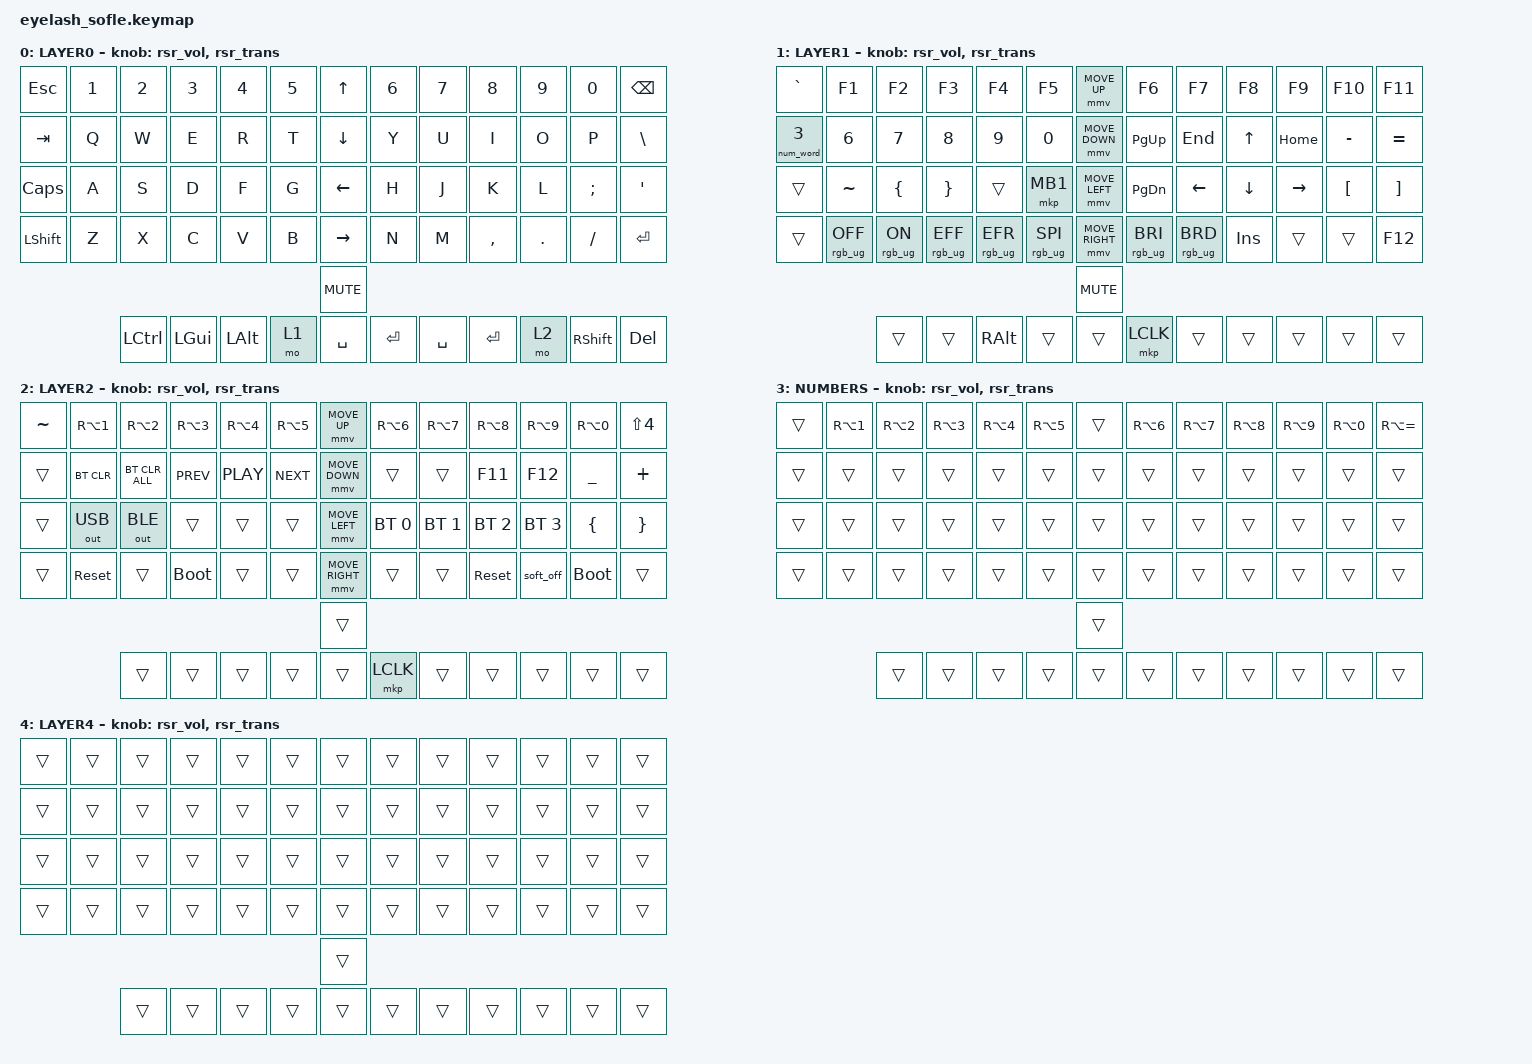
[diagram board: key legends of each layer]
#define ZMK_POINTING_DEFAULT_MOVE_VAL 1200
#define ZMK_POINTING_DEFAULT_SCRL_VAL 25

#include <input/processors.dtsi>
#include <zephyr/dt-bindings/input/input-event-codes.h>
#include <behaviors.dtsi>
#include <behaviors/runtime-sensor-rotate.dtsi>
#include <dt-bindings/zmk/bt.h>
#include <dt-bindings/zmk/keys.h>
#include <dt-bindings/zmk/outputs.h>
#include <dt-bindings/zmk/pointing.h>
#include <dt-bindings/zmk/rgb.h>
#include <behaviors/num_word.dtsi>

&mmv_input_listener {
    input-processors = <&zip_xy_scaler 2 1>;
};

&msc_input_listener {
    input-processors = <&zip_scroll_scaler 2 1>;
};

&msc {
    acceleration-exponent = <1>;
    time-to-max-speed-ms = <100>;
    delay-ms = <0>;
};

&mmv {
    time-to-max-speed-ms = <500>;
    acceleration-exponent = <1>;
    trigger-period-ms = <16>;
};

&soft_off {
    hold-time-ms = <2000>;
};

/ {
    behaviors {
        rsr_vol: rsr_vol {
            compatible = "zmk,behavior-runtime-sensor-rotate";
            #sensor-binding-cells = <0>;
            tap-ms = <5>;
            cw-binding = <&kp C_VOL_UP>;
            ccw-binding = <&kp C_VOL_DN>;
        };

        rsr_trans: rsr_trans {
            compatible = "zmk,behavior-runtime-sensor-rotate";
            #sensor-binding-cells = <0>;
            tap-ms = <0>;
        };
    };

    macros {
        SHIFT_MCLK: SHIFT_MCLK {
            compatible = "zmk,behavior-macro";
            #binding-cells = <0>;
            label = "SHIFT_MCLK";
            bindings = <&macro_press>, <&kp LEFT_SHIFT>, <&macro_press>, <&mkp MB3>, <&macro_pause_for_release>, <&macro_release>, <&kp LEFT_SHIFT>, <&mkp MB3>;
        };
    };

    combos {
        compatible = "zmk,combos";

        softoff {
            key-positions = <14 28 40>;
            bindings = <&soft_off>;
        };

        usb {
            key-positions = <21 28 44>;
            bindings = <&out OUT_USB>;
        };

        ble {
            key-positions = <16 36 44>;
            bindings = <&out OUT_BLE>;
        };
    };

    keymap {
        compatible = "zmk,keymap";

        layer0 {
            display-name = "LAYER0";
            // | ESC   | 1 | 2    | 3   | 4   | 5      |      | UP     |       | 6     | 7      | 8     | 9   | 0    | BSPC  |
            // | TAB   | Q | W    | E   | R   | T      |      | DOWN   |       | Y     | U      | I     | O   | P    | BSLH  |
            // | CAPS  | A | S    | D   | F   | G      | LEFT |                | H     | J      | K     | L   | ;    | APOS  |
            // | SHIFT | Z | X    | C   | V   | B      |               | RIGHT | N     | M      | ,     | .   | FSLH | ENTER |
            //                                                | C_MUTE |
            //             | CTRL | GUI | ALT | LAYER1 | SPC  | ENTER  | SPC   | ENTER | LAYER2 | SHIFT | DEL |
            bindings = <
                &kp ESC    &kp N1  &kp N2     &kp N3        &kp N4        &kp N5                  &kp UP_ARROW                     &kp N6     &kp N7  &kp N8           &kp N9      &kp N0    &kp BACKSPACE
                &kp TAB    &kp Q   &kp W      &kp E         &kp R         &kp T                   &kp DOWN_ARROW                   &kp Y      &kp U   &kp I            &kp O       &kp P     &kp BSLH
                &kp CAPS   &kp A   &kp S      &kp D         &kp F         &kp G   &kp LEFT_ARROW                                   &kp H      &kp J   &kp K            &kp L       &kp SEMI  &kp APOS
                &kp LSHFT  &kp Z   &kp X      &kp C         &kp V         &kp B                                   &kp RIGHT_ARROW  &kp N      &kp M   &kp COMMA        &kp DOT     &kp FSLH  &kp ENTER
                                                                                                  &kp C_MUTE
                                   &kp LCTRL  &kp LEFT_GUI  &kp LEFT_ALT  &mo 1   &kp SPACE       &kp ENTER       &kp SPACE        &kp ENTER  &mo 2   &kp RIGHT_SHIFT  &kp DELETE
            >;

            sensor-bindings = <&rsr_vol &rsr_trans>;
        };

        layer_1 {
            display-name = "LAYER1";
            // | `          | F1             | F2            | F3             | F4             | F5             |               | MMV MOVE_UP   |                | F6             | F7             | F8     | F9    | F10 | F11 |
            // | NUM_WORD 3 | 6              | 7             | 8              | 9              | 0              |               | MMV MOVE_DOWN |                | PG_UP          | END            | UP     | HOME  | -   | =   |
            // |            | ~              | {             | }              |                | MKP MB1        | MMV MOVE_LEFT |                                | PG_DN          | LEFT           | DOWN   | RIGHT | [   | ]   |
            // |            | RGB_UG RGB_OFF | RGB_UG RGB_ON | RGB_UG RGB_EFF | RGB_UG RGB_EFR | RGB_UG RGB_SPI |                               | MMV MOVE_RIGHT | RGB_UG RGB_BRI | RGB_UG RGB_BRD | INSERT |       |     | F12 |
            //                                                                                                                  | C_MUTE        |
            //                               |               |                | ALTGR          |                |               | MKP LCLK      |                |                |                |        |       |
            bindings = <
                &kp GRAVE    &kp F1           &kp F2          &kp F3           &kp F4           &kp F5                           &mmv MOVE_UP                     &kp F6           &kp F7           &kp F8      &kp F9     &kp F10           &kp F11
                &num_word 3  &kp N6           &kp N7          &kp N8           &kp N9           &kp N0                           &mmv MOVE_DOWN                   &kp PG_UP        &kp END          &kp UP      &kp HOME   &kp MINUS         &kp EQUAL
                &trans       &kp TILDE        &kp LBRC        &kp RBRC         &trans           &mkp MB1         &mmv MOVE_LEFT                                   &kp PG_DN        &kp LEFT         &kp DOWN    &kp RIGHT  &kp LEFT_BRACKET  &kp RIGHT_BRACKET
                &trans       &rgb_ug RGB_OFF  &rgb_ug RGB_ON  &rgb_ug RGB_EFF  &rgb_ug RGB_EFR  &rgb_ug RGB_SPI                                  &mmv MOVE_RIGHT  &rgb_ug RGB_BRI  &rgb_ug RGB_BRD  &kp INSERT  &trans     &trans            &kp F12
                                                                                                                                 &kp C_MUTE
                                              &trans          &trans           &kp RALT         &trans           &trans          &mkp LCLK       &trans           &trans           &trans           &trans      &trans
            >;

            sensor-bindings = <&rsr_vol &rsr_trans>;
        };

        layer_2 {
            display-name = "LAYER2";
            // | ~ | RA(N1)      | RA(N2)        | RA(N3)     | RA(N4) | RA(N5) |               | MMV MOVE_UP   |                | RA(N6) | RA(N7) | RA(N8)    | RA(N9)   | RA(N0)     | LS(N4) |
            // |   | BTCLR       | BT BT_CLR_ALL | PREV       | C_PLAY | NEXT   |               | MMV MOVE_DOWN |                |        |        | F11       | F12      | _          | +      |
            // |   | OUT OUT_USB | OUT OUT_BLE   |            |        |        | MMV MOVE_LEFT |                                | BT1    | BT2    | BT3       | BT4      | {          | }      |
            // |   | SYS_RESET   |               | BOOTLOADER |        |        |                               | MMV MOVE_RIGHT |        |        | SYS_RESET | SOFT_OFF | BOOTLOADER |        |
            //                                                                                  |               |
            //                   |               |            |        |        |               | MKP LCLK      |                |        |        |           |          |
            bindings = <
                &kp TILDE  &kp RA(N1)    &kp RA(N2)      &kp RA(N3)   &kp RA(N4)  &kp RA(N5)                  &mmv MOVE_UP                     &kp RA(N6)    &kp RA(N7)    &kp RA(N8)    &kp RA(N9)    &kp RA(N0)   &kp LS(N4)
                &trans     &bt BT_CLR    &bt BT_CLR_ALL  &kp C_PREV   &kp C_PLAY  &kp C_NEXT                  &mmv MOVE_DOWN                   &trans        &trans        &kp F11       &kp F12       &kp UNDER    &kp PLUS
                &trans     &out OUT_USB  &out OUT_BLE    &trans       &trans      &trans      &mmv MOVE_LEFT                                   &bt BT_SEL 0  &bt BT_SEL 1  &bt BT_SEL 2  &bt BT_SEL 3  &kp LBRC     &kp RBRC
                &trans     &sys_reset    &trans          &bootloader  &trans      &trans                                      &mmv MOVE_RIGHT  &trans        &trans        &sys_reset    &soft_off     &bootloader  &trans
                                                                                                              &trans
                                         &trans          &trans       &trans      &trans      &trans          &mkp LCLK       &trans           &trans        &trans        &trans        &trans
            >;

            sensor-bindings = <&rsr_vol &rsr_trans>;
        };

        numbers {
            display-name = "NUMBERS";
            // |   | RA(N1) | RA(N2) | RA(N3) | RA(N4) | RA(N5) |   |   |   | RA(N6) | RA(N7) | RA(N8) | RA(N9) | RA(N0) | RA(EQUAL) |
            // |   |        |        |        |        |        |   |   |   |        |        |        |        |        |           |
            // |   |        |        |        |        |        |   |       |        |        |        |        |        |           |
            // |   |        |        |        |        |        |       |   |        |        |        |        |        |           |
            //                                                      |   |
            //              |        |        |        |        |   |   |   |        |        |        |        |
            bindings = <
                &trans  &kp RA(N1)  &kp RA(N2)  &kp RA(N3)  &kp RA(N4)  &kp RA(N5)          &trans          &kp RA(N6)  &kp RA(N7)  &kp RA(N8)  &kp RA(N9)  &kp RA(N0)  &kp RA(EQUAL)
                &trans  &trans      &trans      &trans      &trans      &trans              &trans          &trans      &trans      &trans      &trans      &trans      &trans
                &trans  &trans      &trans      &trans      &trans      &trans      &trans                  &trans      &trans      &trans      &trans      &trans      &trans
                &trans  &trans      &trans      &trans      &trans      &trans                      &trans  &trans      &trans      &trans      &trans      &trans      &trans
                                                                                            &trans
                                    &trans      &trans      &trans      &trans      &trans  &trans  &trans  &trans      &trans      &trans      &trans
            >;

            sensor-bindings = <&rsr_vol &rsr_trans>;
        };

        layer_4 {
            display-name = "LAYER4";
            // |   |   |   |   |   |   |   |   |   |   |   |   |   |   |   |
            // |   |   |   |   |   |   |   |   |   |   |   |   |   |   |   |
            // |   |   |   |   |   |   |   |       |   |   |   |   |   |   |
            // |   |   |   |   |   |   |       |   |   |   |   |   |   |   |
            //                             |   |
            //         |   |   |   |   |   |   |   |   |   |   |   |
            bindings = <
                &trans  &trans  &trans  &trans  &trans  &trans          &trans          &trans  &trans  &trans  &trans  &trans  &trans
                &trans  &trans  &trans  &trans  &trans  &trans          &trans          &trans  &trans  &trans  &trans  &trans  &trans
                &trans  &trans  &trans  &trans  &trans  &trans  &trans                  &trans  &trans  &trans  &trans  &trans  &trans
                &trans  &trans  &trans  &trans  &trans  &trans                  &trans  &trans  &trans  &trans  &trans  &trans  &trans
                                                                        &trans
                                &trans  &trans  &trans  &trans  &trans  &trans  &trans  &trans  &trans  &trans  &trans
            >;

            sensor-bindings = <&rsr_vol &rsr_trans>;
        };
    };

    scroll_encoder: scroll_encoder {
        compatible = "zmk,behavior-sensor-rotate";
        #sensor-binding-cells = <0>;
        bindings = <&msc SCRL_DOWN>, <&msc SCRL_UP>;
        tap-ms = <100>;
    };
};

&num_word {
    ignore-modifiers;
};
